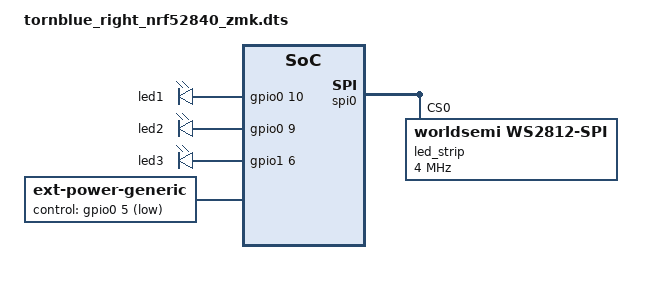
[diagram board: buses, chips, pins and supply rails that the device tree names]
/*
 * Copyright (c) 2021 Richard Titmuss
 *
 * SPDX-License-Identifier: MIT
 */

#include "tornblue.dtsi"
#include "tornblue_right-pinctrl.dtsi"

&default_transform {
    col-offset = <6>;
};

&kscan0 {
    row-gpios
        = <&gpio1 15 (GPIO_ACTIVE_HIGH | GPIO_PULL_DOWN)>
        , <&gpio1 13 (GPIO_ACTIVE_HIGH | GPIO_PULL_DOWN)>
        , <&gpio1 10 (GPIO_ACTIVE_HIGH | GPIO_PULL_DOWN)>
        , <&gpio1 11 (GPIO_ACTIVE_HIGH | GPIO_PULL_DOWN)>
        ;

    col-gpios
        = <&gpio0 7  GPIO_ACTIVE_HIGH>
        , <&gpio1 9  GPIO_ACTIVE_HIGH>
        , <&gpio0 12 GPIO_ACTIVE_HIGH>
        , <&gpio0 23 GPIO_ACTIVE_HIGH>
        , <&gpio0 21 GPIO_ACTIVE_HIGH>
        , <&gpio0 19 GPIO_ACTIVE_HIGH>
        ;
};

/ {
    leds {
        compatible = "gpio-leds";
        led1: led1 {
            gpios = <&gpio0 10 GPIO_ACTIVE_HIGH>;
        };
        led2: led2 {
            gpios = <&gpio0 9 GPIO_ACTIVE_HIGH>;
        };
        led3: led3 {
            gpios = <&gpio1 6 GPIO_ACTIVE_HIGH>;
        };
    };

    ext-power {
        compatible = "zmk,ext-power-generic";
        control-gpios = <&gpio0 5 GPIO_ACTIVE_LOW>;
    };
};

&spi0 {
    compatible = "nordic,nrf-spim";
    // Cannot be used together with i2c0
    status = "okay";
    pinctrl-0 = <&spi0_default>;
    pinctrl-1 = <&spi0_sleep>;
    pinctrl-names = "default", "sleep";

    led_strip: ws2812@0 {
        compatible = "worldsemi,ws2812-spi";

        // SPI
        reg = <0>; /* ignored, but necessary for SPI bindings */
        spi-max-frequency = <4000000>;

        // WS2812
        chain-length = <6>; /* LED strip length */
        spi-one-frame = <0x70>;
        spi-zero-frame = <0x40>;
        color-mapping = <LED_COLOR_ID_GREEN LED_COLOR_ID_RED LED_COLOR_ID_BLUE>;
    };
};
